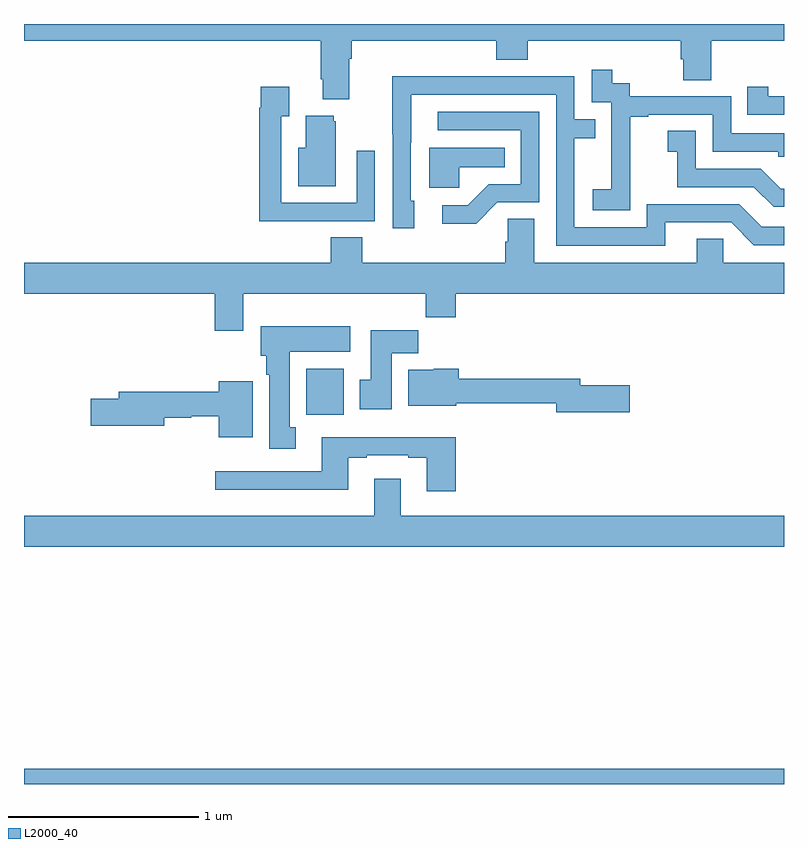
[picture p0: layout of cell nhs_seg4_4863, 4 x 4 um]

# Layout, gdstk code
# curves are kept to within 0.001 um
import gdstk
lib = gdstk.Library(unit=1e-6, precision=1e-09)
def R(c, l, rs):  # rectangles x0, y0, x1, y1
    for r in rs: c.add(gdstk.rectangle(r[:2], r[2:], *l))
def P(c, l, *ps):  # polygons
    for p in ps: c.add(gdstk.Polygon(p, *l))
L2000_40 = (2000, 40)

nhs_seg4_4863 = lib.new_cell('nhs_seg4_4863')
R(nhs_seg4_4863, L2000_40, [(373,800.9,377,800.98), (374.486,802.844,374.683,803.086)])
P(nhs_seg4_4863, L2000_40, [(374.713,804.716),(374.726,804.716),(374.726,804.812),(375.485,804.812),(375.485,804.713),(375.65,804.713),(375.65,804.812),(376.457,804.812),(376.457,804.714),(376.469,804.714),(376.469,804.604),(376.617,804.604),(376.617,804.812),(377,804.812),(377,804.9),(373,804.9),(373,804.812),(374.561,804.812),(374.561,804.61),(374.573,804.61),(374.573,804.503),(374.713,804.503)],
  [(376.191,804.127),(376.19,804.127),(376.19,804.411),(376.285,804.411),(376.285,804.423),(376.626,804.423),(376.626,804.228),(376.971,804.228),(376.971,804.201),(377,804.201),(377,804.324),(376.722,804.324),(376.722,804.519),(376.188,804.519),(376.188,804.588),(376.096,804.588),(376.096,804.658),(375.987,804.658),(375.987,804.489),(376.092,804.489),(376.092,804.26),(376.091,804.26),(376.091,804.031),(375.993,804.031),(375.993,803.921),(376.191,803.921)],
  [(376.375,803.856),(376.722,803.856),(376.842,803.736),(377,803.736),(377,803.832),(376.884,803.832),(376.764,803.952),(376.278,803.952),(376.278,803.829),(375.897,803.829),(375.897,804.298),(376.007,804.298),(376.007,804.399),(375.897,804.399),(375.897,804.624),(375.401,804.624),(375.401,804.626),(374.938,804.626),(374.938,804.319),(374.94,804.319),(374.94,803.826),(375.055,803.826),(375.055,803.97),(375.036,803.97),(375.037,804.528),(375.801,804.528),(375.801,803.733),(376.375,803.733)],
  [(374.531,803.862),(374.847,803.862),(374.847,804.232),(374.751,804.232),(374.751,803.958),(374.355,803.958),(374.355,804.415),(374.395,804.415),(374.395,804.571),(374.247,804.571),(374.247,804.458),(374.239,804.458),(374.239,803.861),(374.531,803.861)],
  [(377,804.519),(376.918,804.519),(376.918,804.571),(376.807,804.571),(376.807,804.423),(377,804.423)],
  [(375.492,803.961),(375.711,803.961),(375.711,804.438),(375.177,804.438),(375.177,804.342),(375.615,804.342),(375.615,804.057),(375.446,804.057),(375.335,803.946),(375.201,803.946),(375.201,803.849),(375.379,803.849)],
  [(374.641,804.387),(374.63,804.387),(374.63,804.418),(374.483,804.418),(374.483,804.25),(374.444,804.25),(374.444,804.047),(374.641,804.047)],
  [(377,804.034),(376.982,804.034),(376.878,804.138),(376.536,804.138),(376.536,804.337),(376.389,804.337),(376.389,804.227),(376.438,804.227),(376.438,804.042),(376.841,804.042),(376.946,803.937),(377,803.937)],
  [(375.291,804.146),(375.53,804.146),(375.53,804.25),(375.134,804.25),(375.134,804.038),(375.291,804.038)],
  [(375.115,803.356),(375.272,803.356),(375.272,803.48),(377,803.48),(377,803.644),(376.68,803.644),(376.68,803.771),(376.541,803.771),(376.541,803.644),(375.685,803.644),(375.685,803.876),(375.546,803.876),(375.546,803.753),(375.533,803.753),(375.533,803.644),(374.78,803.644),(374.78,803.777),(374.615,803.777),(374.615,803.644),(373,803.644),(373,803.48),(374.003,803.48),(374.003,803.286),(374.155,803.286),(374.155,803.48),(375.115,803.48)],
  [(374.431,802.778),(374.398,802.778),(374.398,803.174),(374.716,803.174),(374.716,803.308),(374.246,803.308),(374.246,803.154),(374.276,803.154),(374.276,803.054),(374.291,803.054),(374.291,802.665),(374.431,802.665)],
  [(374.935,803.168),(375.074,803.168),(375.074,803.287),(374.825,803.287),(374.825,803.028),(374.768,803.028),(374.768,802.872),(374.935,802.872)],
  [(376.189,802.998),(375.928,802.998),(375.928,803.032),(375.287,803.032),(375.287,803.086),(375.156,803.086),(375.156,803.08),(375.023,803.08),(375.023,802.892),(375.274,802.892),(375.274,802.903),(375.8,802.903),(375.8,802.856),(376.189,802.856)],
  [(374.203,803.02),(374.024,803.02),(374.024,802.964),(373.499,802.964),(373.499,802.928),(373.35,802.928),(373.35,802.786),(373.738,802.786),(373.738,802.828),(373.881,802.828),(373.881,802.836),(374.024,802.836),(374.024,802.724),(374.203,802.724)],
  [(375.272,802.726),(374.567,802.726),(374.567,802.545),(374.007,802.545),(374.007,802.448),(374.707,802.448),(374.707,802.617),(374.803,802.617),(374.803,802.629),(375.023,802.629),(375.023,802.617),(375.119,802.617),(375.119,802.44),(375.272,802.44)],
  [(377,802.312),(374.983,802.312),(374.983,802.507),(374.843,802.507),(374.843,802.312),(373,802.312),(373,802.148),(377,802.148)])

lib.write_gds('nhs_seg4_4863.gds')
